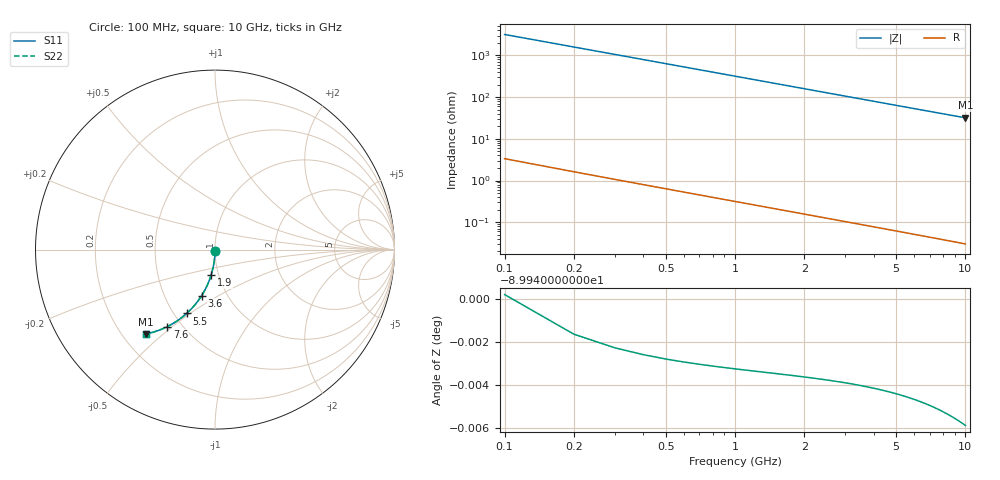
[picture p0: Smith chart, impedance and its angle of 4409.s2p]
# Hz S RI R 50.00
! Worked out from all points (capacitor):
!   100 points, 100 MHz to 10 GHz, reference 50 ohm
!   read as one part in shunt: C = 500 fF near 100 MHz
!   lowest |Z| = 32 ohm at 10 GHz (marker M1)
!   S11 on the Smith chart (normalised r, x): 100 MHz: 1.00, -0.02; 1.9 GHz: 0.92, -0.27; 3.6 GHz: 0.76, -0.42; 5.5 GHz: 0.58, -0.48; 7.6 GHz: 0.42, -0.48; 10 GHz: 0.29, -0.44
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1e8  -1.1e-05 -0.00769  0.9999 -0.00801  0.9999 -0.00801  -1.1e-05 -0.00769
2e8  -0.000203 -0.0154  0.9997 -0.016  0.9997 -0.016  -0.000203 -0.0154
3e8  -0.000518 -0.0231  0.9994 -0.024  0.9994 -0.024  -0.000518 -0.0231
4e8  -0.000956 -0.0307  0.9989 -0.032  0.9989 -0.032  -0.000956 -0.0307
5e8  -0.00152 -0.0384  0.9984 -0.04  0.9984 -0.04  -0.00152 -0.0384
6e8  -0.0022 -0.046  0.9977 -0.0479  0.9977 -0.0479  -0.0022 -0.046
8e8  -0.00393 -0.0613  0.9959 -0.0638  0.9959 -0.0638  -0.00393 -0.0613
1.1e9  -0.00742 -0.0839  0.9925 -0.0874  0.9925 -0.0874  -0.00742 -0.0839
1.4e9  -0.012 -0.1064  0.9879 -0.1108  0.9879 -0.1108  -0.012 -0.1064
1.8e9  -0.0197 -0.1357  0.9802 -0.1414  0.9802 -0.1414  -0.0197 -0.1357
1.9e9  -0.0218 -0.1429  0.978 -0.1489  0.978 -0.1489  -0.0218 -0.1429
2.2e9  -0.0291 -0.1642  0.9708 -0.1712  0.9708 -0.1712  -0.0291 -0.1642
2.6e9  -0.0402 -0.1919  0.9597 -0.2002  0.9597 -0.2002  -0.0402 -0.1919
3.4e9  -0.0668 -0.2439  0.933 -0.2548  0.933 -0.2548  -0.0668 -0.2439
3.6e9  -0.0743 -0.2562  0.9255 -0.2677  0.9255 -0.2677  -0.0743 -0.2562
4.3e9  -0.1028 -0.2965  0.8969 -0.3103  0.8969 -0.3103  -0.1028 -0.2965
5.1e9  -0.139 -0.3374  0.8607 -0.3538  0.8607 -0.3538  -0.139 -0.3374
5.5e9  -0.1582 -0.3557  0.8415 -0.3734  0.8415 -0.3734  -0.1582 -0.3557
6.7e9  -0.2184 -0.402  0.7812 -0.4236  0.7812 -0.4236  -0.2184 -0.402
7.6e9  -0.2648 -0.4286  0.7348 -0.4531  0.7348 -0.4531  -0.2648 -0.4286
8.4e9  -0.3059 -0.4468  0.6936 -0.474  0.6936 -0.474  -0.3059 -0.4468
1e10  -0.3853 -0.47  0.614 -0.5025  0.614 -0.5025  -0.3853 -0.47
